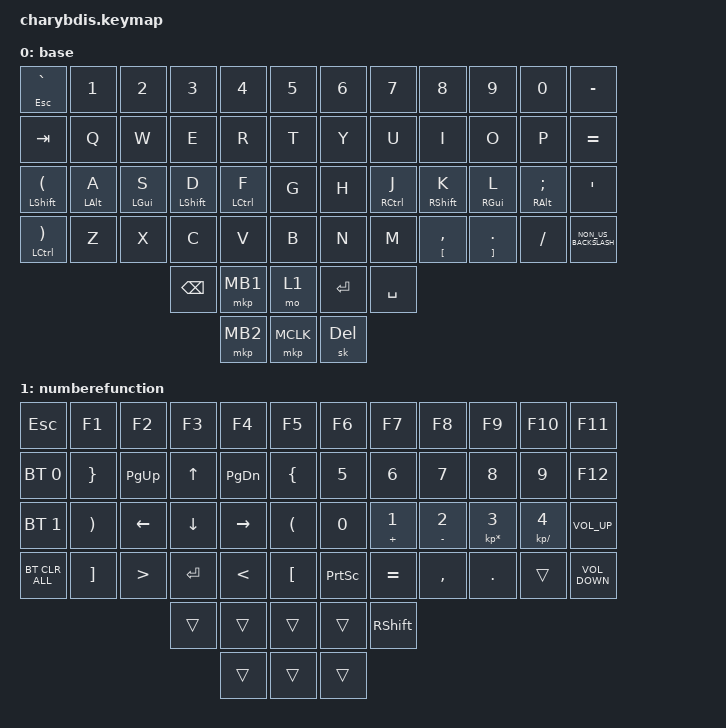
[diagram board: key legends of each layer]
#include <behaviors.dtsi>
#include <dt-bindings/zmk/bt.h>
#include <dt-bindings/zmk/keys.h>
#include <dt-bindings/zmk/pointing.h>

&lt {
    tapping-term-ms = <200>;
    flavor = "balanced";
    quick-tap-ms = <150>;
};

/ {
    combos {
        compatible = "zmk,combos";

        esc {
            bindings = <&kp ESC>;
            key-positions = <16 19>;
            layers = <0>;
        };

        Backward {
            bindings = <&mkp MB4>;
            key-positions = <49 53>;
        };

        delete {
            bindings = <&kp DELETE>;
            key-positions = <38 39 40>;
        };

        Enter {
            bindings = <&kp ENTER>;
            key-positions = <19 20 21>;
        };

        Backspace {
            bindings = <&kp BACKSPACE>;
            key-positions = <14 15 16>;
        };

        MiddleClick {
            bindings = <&mkp MB5>;
            key-positions = <54 50>;
        };
    };

    behaviors {
        ht: ht {
            compatible = "zmk,behavior-hold-tap";
            label = "HT";
            bindings = <&kp>, <&kp>;

            #binding-cells = <2>;
            tapping-term-ms = <200>;
            flavor = "tap-preferred";
        };
    };

    keymap {
        compatible = "zmk,keymap";

        base {
            bindings = <
&ht ESC GRAVE                    &kp N1          &kp N2          &kp N3            &kp N4       &kp N5       &kp N6      &kp N7       &kp N8                  &kp N9                    &kp N0                   &kp MINUS
&kp TAB                          &kp Q           &kp W           &kp E             &kp R        &kp T        &kp Y       &kp U        &kp I                   &kp O                     &kp P                    &kp EQUAL
&ht LEFT_SHIFT LEFT_PARENTHESIS  &ht LEFT_ALT A  &ht LEFT_GUI S  &ht LEFT_SHIFT D  &ht LCTRL F  &kp G        &kp H       &ht RCTRL J  &ht RIGHT_SHIFT K       &ht RIGHT_GUI L           &ht RIGHT_ALT SEMICOLON  &kp APOS
&ht LCTRL RIGHT_PARENTHESIS      &kp Z           &kp X           &kp C             &kp V        &kp B        &kp N       &kp M        &ht LEFT_BRACKET COMMA  &ht RIGHT_BRACKET PERIOD  &kp SLASH                &kp NON_US_BACKSLASH
                                                                 &kp BACKSPACE     &mkp MB1     &mo 1        &kp ENTER   &kp SPACE
                                                                                   &mkp MB2     &mkp MCLK    &sk DELETE
            >;
        };

        numberefunction {
            bindings = <
&kp ESC         &kp F1                 &kp F2            &kp F3        &kp F4         &kp F5                  &kp F6           &kp F7             &kp F8              &kp F9                    &kp F10                 &kp F11
&bt BT_SEL 0    &kp RIGHT_BRACE        &kp PAGE_UP       &kp UP_ARROW  &kp PAGE_DOWN  &kp LEFT_BRACE          &kp N5           &kp NUMBER_6       &kp N7              &kp N8                    &kp N9                  &kp F12
&bt BT_SEL 1    &kp RIGHT_PARENTHESIS  &kp LEFT          &kp DOWN      &kp RIGHT      &kp LEFT_PARENTHESIS    &kp N0           &ht PLUS NUMBER_1  &ht MINUS NUMBER_2  &ht KP_MULTIPLY NUMBER_3  &ht KP_DIVIDE NUMBER_4  &kp C_VOLUME_UP
&bt BT_CLR_ALL  &kp RIGHT_BRACKET      &kp GREATER_THAN  &kp ENTER     &kp LESS_THAN  &kp LEFT_BRACKET        &kp PRINTSCREEN  &kp EQUAL          &kp COMMA           &kp PERIOD                &trans                  &kp C_VOLUME_DOWN
                                                         &trans        &trans         &trans                  &trans           &kp RIGHT_SHIFT
                                                                       &trans         &trans                  &trans
            >;
        };
    };
};
